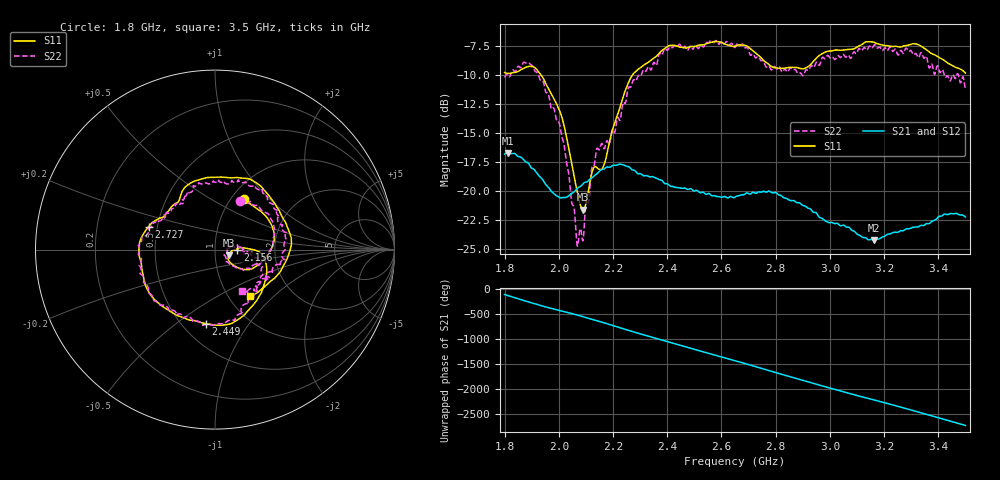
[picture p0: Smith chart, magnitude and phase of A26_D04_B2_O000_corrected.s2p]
! Created with skrf 1.9.0 (http://scikit-rf.org).
# Hz S RI R 50.0
!freq ReS11 ImS11 ReS21 ImS21 ReS12 ImS12 ReS22 ImS22
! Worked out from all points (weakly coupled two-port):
!   1601 points, 1.8 GHz to 3.5 GHz, reference 50 ohm
!   highest |S21| = -16.72 dB at 1.812 GHz (marker M1); lowest = -24.2 dB at 3.163 GHz (marker M2)
!   lowest |S11| = -21.6 dB at 2.09 GHz (marker M3), VSWR 1.18, Z = 58.2 - j3.63 ohm
!   |S11| at or under -10 dB: 1.934 GHz to 2.272 GHz (338.4 MHz wide, 16.1 % of centre)
!   |S22| runs from -24.7 to -7.1 dB; largest |S21 - S12| = 0.0023
!   S11 on the Smith chart (normalised r, x): 1.8 GHz: 1.14, +0.72; 2.156 GHz: 1.28, +0.00; 2.449 GHz: 0.65, -0.65; 2.727 GHz: 0.45, +0.13; 3.5 GHz: 1.25, -0.72
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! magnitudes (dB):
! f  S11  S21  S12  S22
! 1.8 GHz  -9.8  -16.8  -16.8  -10.2
! 1.812 GHz  -9.9  -16.7  -16.7  -10.0
! 1.882 GHz  -9.3  -17.5  -17.5  -9.0
! 1.941 GHz  -10.3  -19.0  -19.0  -10.5
! 2.011 GHz  -13.7  -20.6  -20.5  -15.3
! 2.066 GHz  -19.8  -19.8  -19.8  -24.3
! 2.084 GHz  -21.4  -19.5  -19.5  -23.6
! 2.09 GHz  -21.6  -19.4  -19.4  -24.2
! 2.126 GHz  -18.1  -18.8  -18.8  -17.9
! 2.156 GHz  -18.1  -18.2  -18.2  -16.0
! 2.187 GHz  -15.8  -17.9  -17.9  -15.9
! 2.263 GHz  -10.4  -18.0  -18.0  -11.1
! 2.367 GHz  -8.2  -19.0  -18.9  -8.5
! 2.449 GHz  -7.6  -19.7  -19.7  -7.5
! 2.65 GHz  -7.5  -20.5  -20.5  -7.7
! 2.727 GHz  -8.1  -20.2  -20.2  -8.6
! 2.799 GHz  -9.4  -20.1  -20.1  -9.4
! 2.934 GHz  -9.0  -21.7  -21.6  -9.2
! 3.163 GHz  -7.2  -24.2  -24.2  -7.4
! 3.217 GHz  -7.5  -23.7  -23.6  -7.8
! 3.324 GHz  -7.4  -23.1  -23.0  -8.5
! 3.5 GHz  -9.9  -22.2  -22.2  -11.2
